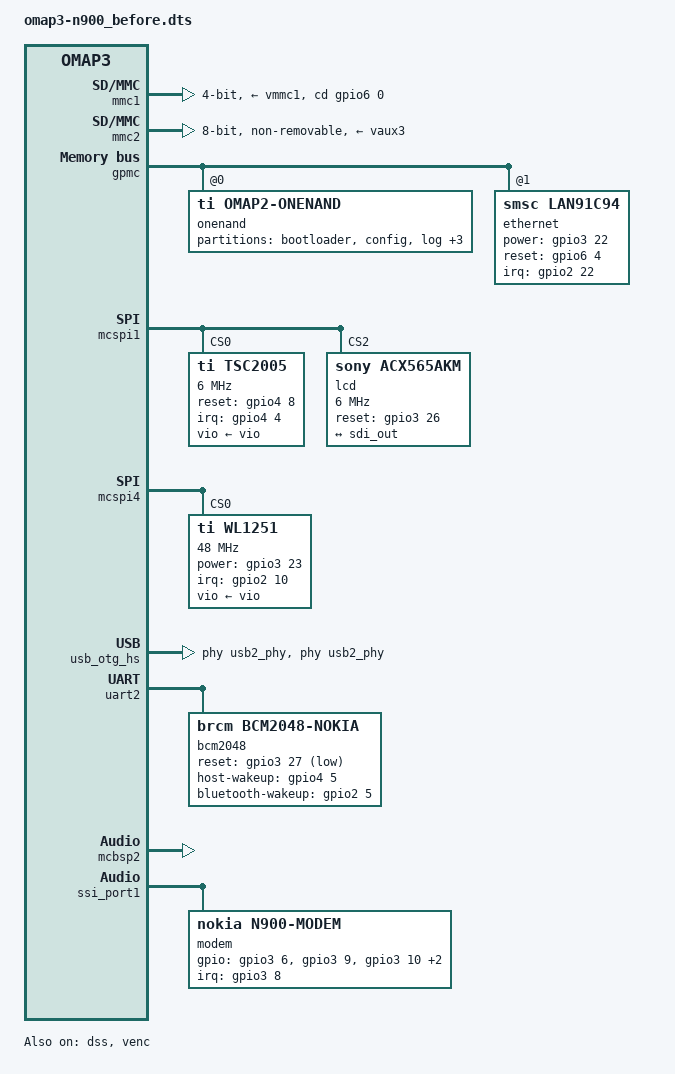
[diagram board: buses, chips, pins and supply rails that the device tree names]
&mmc1 {
	pinctrl-names = "default";
	pinctrl-0 = <&mmc1_pins>;
	vmmc-supply = <&vmmc1>;
	bus-width = <4>;
	/* For debugging, it is often good idea to remove this GPIO.
	   It means you can remove back cover (to reboot by removing
	   battery) and still use the MMC card. */
	cd-gpios = <&gpio6 0 GPIO_ACTIVE_HIGH>; /* 160 */
};

/* most boards use vaux3, only some old versions use vmmc2 instead */
&mmc2 {
	pinctrl-names = "default";
	pinctrl-0 = <&mmc2_pins>;
	vmmc-supply = <&vaux3>;
	vqmmc-supply = <&vsim>;
	bus-width = <8>;
	non-removable;
	no-sdio;
	no-sd;
};

&mmc3 {
	status = "disabled";
};

&gpmc {
	ranges = <0 0 0x01000000 0x01000000>,	/* 16 MB for OneNAND */
		 <1 0 0x02000000 0x01000000>;	/* 16 MB for smc91c96 */
	pinctrl-names = "default";
	pinctrl-0 = <&gpmc_pins>;

	/* sys_ndmareq1 could be used by the driver, not as gpio65 though */
	onenand@0,0 {
		#address-cells = <1>;
		#size-cells = <1>;
		compatible = "ti,omap2-onenand";
		reg = <0 0 0x20000>;	/* CS0, offset 0, IO size 128K */

		gpmc,sync-read;
		gpmc,sync-write;
		gpmc,burst-length = <16>;
		gpmc,burst-read;
		gpmc,burst-wrap;
		gpmc,burst-write;
		gpmc,device-width = <2>; /* GPMC_DEVWIDTH_16BIT */
		gpmc,mux-add-data = <2>; /* GPMC_MUX_AD */
		gpmc,cs-on-ns = <0>;
		gpmc,cs-rd-off-ns = <87>;
		gpmc,cs-wr-off-ns = <87>;
		gpmc,adv-on-ns = <0>;
		gpmc,adv-rd-off-ns = <10>;
		gpmc,adv-wr-off-ns = <10>;
		gpmc,oe-on-ns = <15>;
		gpmc,oe-off-ns = <87>;
		gpmc,we-on-ns = <0>;
		gpmc,we-off-ns = <87>;
		gpmc,rd-cycle-ns = <112>;
		gpmc,wr-cycle-ns = <112>;
		gpmc,access-ns = <81>;
		gpmc,page-burst-access-ns = <15>;
		gpmc,bus-turnaround-ns = <0>;
		gpmc,cycle2cycle-delay-ns = <0>;
		gpmc,wait-monitoring-ns = <0>;
		gpmc,clk-activation-ns = <5>;
		gpmc,wr-data-mux-bus-ns = <30>;
		gpmc,wr-access-ns = <81>;
		gpmc,sync-clk-ps = <15000>;

		/*
		 * MTD partition table corresponding to Nokia's
		 * Maemo 5 (Fremantle) release.
		 */
		partition@0 {
			label = "bootloader";
			reg = <0x00000000 0x00020000>;
			read-only;
		};
		partition@1 {
			label = "config";
			reg = <0x00020000 0x00060000>;
		};
		partition@2 {
			label = "log";
			reg = <0x00080000 0x00040000>;
		};
		partition@3 {
			label = "kernel";
			reg = <0x000c0000 0x00200000>;
		};
		partition@4 {
			label = "initfs";
			reg = <0x002c0000 0x00200000>;
		};
		partition@5 {
			label = "rootfs";
			reg = <0x004c0000 0x0fb40000>;
		};
	};

	/* Ethernet is on some early development boards and qemu */
	ethernet@gpmc {
		compatible = "smsc,lan91c94";
		interrupt-parent = <&gpio2>;
		interrupts = <22 IRQ_TYPE_LEVEL_HIGH>;	/* gpio54 */
		reg = <1 0 0xf>;		/* 16 byte IO range */
		bank-width = <2>;
		pinctrl-names = "default";
		pinctrl-0 = <&ethernet_pins>;
		power-gpios = <&gpio3 22 GPIO_ACTIVE_HIGH>;	/* gpio86 */
		reset-gpios = <&gpio6 4 GPIO_ACTIVE_HIGH>;	/* gpio164 */
		gpmc,device-width = <2>;
		gpmc,sync-clk-ps = <0>;
		gpmc,cs-on-ns = <0>;
		gpmc,cs-rd-off-ns = <48>;
		gpmc,cs-wr-off-ns = <24>;
		gpmc,adv-on-ns = <0>;
		gpmc,adv-rd-off-ns = <0>;
		gpmc,adv-wr-off-ns = <0>;
		gpmc,we-on-ns = <12>;
		gpmc,we-off-ns = <18>;
		gpmc,oe-on-ns = <12>;
		gpmc,oe-off-ns = <48>;
		gpmc,page-burst-access-ns = <0>;
		gpmc,access-ns = <42>;
		gpmc,rd-cycle-ns = <180>;
		gpmc,wr-cycle-ns = <180>;
		gpmc,bus-turnaround-ns = <0>;
		gpmc,cycle2cycle-delay-ns = <0>;
		gpmc,wait-monitoring-ns = <0>;
		gpmc,clk-activation-ns = <0>;
		gpmc,wr-access-ns = <0>;
		gpmc,wr-data-mux-bus-ns = <12>;
	};
};

&mcspi1 {
	/*
	 * For some reason, touchscreen is necessary for screen to work at
	 * all on real hw. It works well without it on emulator.
	 *
	 * Also... order in the device tree actually matters here.
	 */
	tsc2005@0 {
		compatible = "ti,tsc2005";
		spi-max-frequency = <6000000>;
		reg = <0>;

		vio-supply = <&vio>;

		reset-gpios = <&gpio4 8 GPIO_ACTIVE_HIGH>; /* 104 */
		interrupts-extended = <&gpio4 4 IRQ_TYPE_EDGE_RISING>; /* 100 */

		touchscreen-fuzz-x = <4>;
		touchscreen-fuzz-y = <7>;
		touchscreen-fuzz-pressure = <2>;
		touchscreen-size-x = <4096>;
		touchscreen-size-y = <4096>;
		touchscreen-max-pressure = <2048>;

		ti,x-plate-ohms = <280>;
		ti,esd-recovery-timeout-ms = <8000>;
	};

	lcd: acx565akm@2 {
		compatible = "sony,acx565akm";
		spi-max-frequency = <6000000>;
		reg = <2>;

		pinctrl-names = "default";
		pinctrl-0 = <&acx565akm_pins>;

		label = "lcd";
		reset-gpios = <&gpio3 26 GPIO_ACTIVE_HIGH>; /* 90 */

		port {
			lcd_in: endpoint {
				remote-endpoint = <&sdi_out>;
			};
		};
	};
};

&mcspi4 {
	pinctrl-names = "default";
	pinctrl-0 = <&mcspi4_pins>;

	wl1251@0 {
		pinctrl-names = "default";
		pinctrl-0 = <&wl1251_pins>;

		vio-supply = <&vio>;

		compatible = "ti,wl1251";
		reg = <0>;
		spi-max-frequency = <48000000>;

		spi-cpol;
		spi-cpha;

		ti,power-gpio = <&gpio3 23 GPIO_ACTIVE_HIGH>; /* 87 */

		interrupt-parent = <&gpio2>;
		interrupts = <10 IRQ_TYPE_NONE>; /* gpio line 42 */

		clocks = <&vctcxo>;
	};
};

&usb_otg_hs {
	interface-type = <0>;
	usb-phy = <&usb2_phy>;
	phys = <&usb2_phy>;
	phy-names = "usb2-phy";
	mode = <2>;
	power = <50>;
};

&uart1 {
	status = "disabled";
};

&uart2 {
	pinctrl-names = "default";
	pinctrl-0 = <&uart2_pins>;

	bcm2048: bluetooth {
		compatible = "brcm,bcm2048-nokia", "nokia,h4p-bluetooth";
		reset-gpios = <&gpio3 27 GPIO_ACTIVE_LOW>; /* 91 */
		host-wakeup-gpios = <&gpio4 5 GPIO_ACTIVE_HIGH>; /* 101 */
		bluetooth-wakeup-gpios = <&gpio2 5 GPIO_ACTIVE_HIGH>; /* 37 */
		clocks = <&vctcxo>;
		clock-names = "sysclk";
	};
};

&uart3 {
	interrupts-extended = <&intc 74 &omap3_pmx_core OMAP3_UART3_RX>;
	pinctrl-names = "default";
	pinctrl-0 = <&uart3_pins>;
};

&dss {
	status = "ok";

	pinctrl-names = "default";
	pinctrl-0 = <&dss_sdi_pins>;

	vdds_sdi-supply = <&vaux1>;

	ports {
		#address-cells = <1>;
		#size-cells = <0>;

		port@1 {
			reg = <1>;

			sdi_out: endpoint {
				remote-endpoint = <&lcd_in>;
				datapairs = <2>;
			};
		};
	};
};

&venc {
	status = "ok";

	vdda-supply = <&vdac>;

	port {
		venc_out: endpoint {
			remote-endpoint = <&tv_connector_in>;
			ti,channels = <1>;
		};
	};
};

&mcbsp2 {
	status = "ok";
};

&ssi_port1 {
	pinctrl-names = "default";
	pinctrl-0 = <&ssi_pins>;

	ti,ssi-cawake-gpio = <&gpio5 23 GPIO_ACTIVE_HIGH>; /* 151 */

	modem: hsi-client {
		compatible = "nokia,n900-modem";

		pinctrl-names = "default";
		pinctrl-0 = <&modem_pins>;

		hsi-channel-ids = <0>, <1>, <2>, <3>;
		hsi-channel-names = "mcsaab-control",
				    "speech-control",
				    "speech-data",
				    "mcsaab-data";
		hsi-speed-kbps = <55000>;
		hsi-mode = "frame";
		hsi-flow = "synchronized";
		hsi-arb-mode = "round-robin";

		interrupts-extended = <&gpio3 8 IRQ_TYPE_EDGE_FALLING>; /* 72 */

		gpios = <&gpio3  6 GPIO_ACTIVE_HIGH>, /* 70 */
			<&gpio3  9 GPIO_ACTIVE_HIGH>, /* 73 */
			<&gpio3 10 GPIO_ACTIVE_HIGH>, /* 74 */
			<&gpio3 11 GPIO_ACTIVE_HIGH>, /* 75 */
			<&gpio5 29 GPIO_ACTIVE_HIGH>; /* 157 */
		gpio-names = "cmt_apeslpx",
			     "cmt_rst_rq",
			     "cmt_en",
			     "cmt_rst",
			     "cmt_bsi";
	};
};

&ssi_port2 {
	status = "disabled";
};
